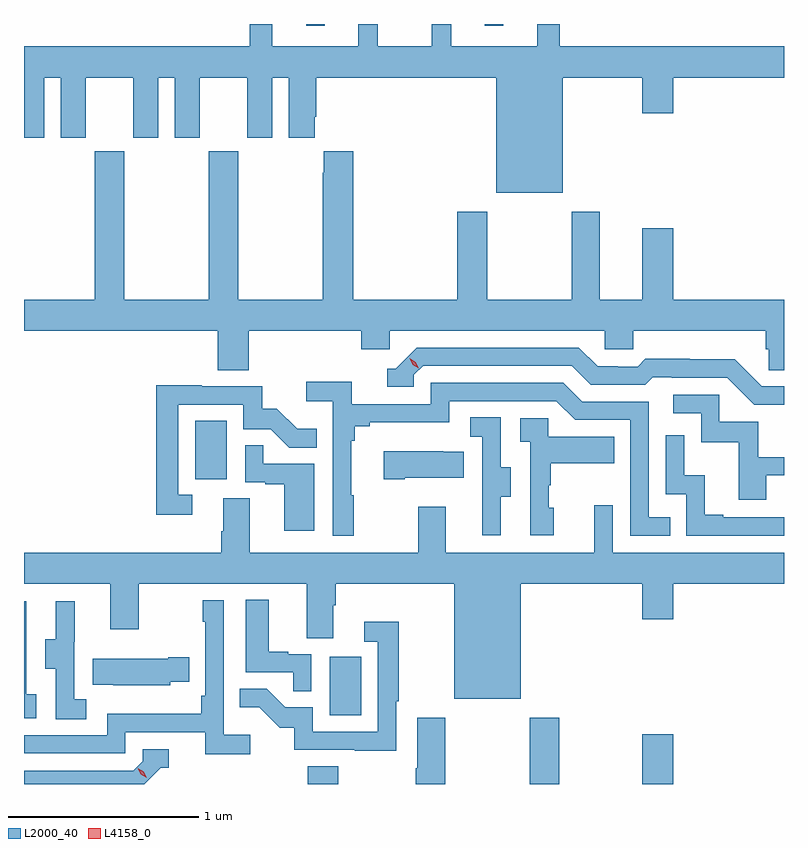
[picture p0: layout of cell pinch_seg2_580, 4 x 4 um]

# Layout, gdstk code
import gdstk
lib = gdstk.Library(unit=1e-6, precision=1e-09)
def R(c, l, rs):  # rectangles x0, y0, x1, y1
    for r in rs: c.add(gdstk.rectangle(r[:2], r[2:], *l))
def P(c, l, *ps):  # polygons
    for p in ps: c.add(gdstk.Polygon(p, *l))
L2000_40 = (2000, 40)
L4158_0 = (4158, 0)

pinch_seg2_580 = lib.new_cell('pinch_seg2_580')
R(pinch_seg2_580, L2000_40, [(1074.335,615.946,1074.495,616.04), (1075.504,615.946,1075.659,616.294), (1076.096,615.946,1076.26,616.207), (1074.452,616.308,1074.616,616.615), (1073.744,617.55,1073.908,617.857), (1074.327,619.938,1074.424,619.946), (1075.268,619.938,1075.365,619.946)])
P(pinch_seg2_580, L2000_40, [(1075.678,619.664),(1076.096,619.664),(1076.096,619.476),(1076.26,619.476),(1076.26,619.664),(1076.842,619.664),(1076.842,619.828),(1075.661,619.828),(1075.661,619.946),(1075.544,619.946),(1075.544,619.828),(1075.091,619.828),(1075.091,619.946),(1074.988,619.946),(1074.988,619.828),(1074.704,619.828),(1074.704,619.946),(1074.602,619.946),(1074.602,619.828),(1074.149,619.828),(1074.149,619.946),(1074.031,619.946),(1074.031,619.828),(1072.842,619.828),(1072.842,619.347),(1072.948,619.347),(1072.948,619.664),(1073.036,619.664),(1073.036,619.347),(1073.167,619.347),(1073.167,619.664),(1073.417,619.664),(1073.417,619.347),(1073.548,619.347),(1073.548,619.664),(1073.636,619.664),(1073.636,619.347),(1073.767,619.347),(1073.767,619.664),(1074.017,619.664),(1074.017,619.347),(1074.148,619.347),(1074.148,619.664),(1074.236,619.664),(1074.236,619.347),(1074.373,619.347),(1074.373,619.459),(1074.38,619.459),(1074.38,619.664),(1075.328,619.664),(1075.328,619.058),(1075.678,619.058)],
  [(1074.026,618.332),(1074.617,618.332),(1074.617,618.234),(1074.768,618.234),(1074.768,618.332),(1075.899,618.332),(1075.899,618.234),(1076.049,618.234),(1076.049,618.332),(1076.747,618.332),(1076.747,618.234),(1076.761,618.234),(1076.761,618.124),(1076.842,618.124),(1076.842,618.496),(1076.26,618.496),(1076.26,618.871),(1076.096,618.871),(1076.096,618.496),(1075.873,618.496),(1075.873,618.958),(1075.726,618.958),(1075.726,618.496),(1075.281,618.496),(1075.281,618.958),(1075.121,618.958),(1075.121,618.496),(1074.575,618.496),(1074.575,619.276),(1074.419,619.276),(1074.419,619.163),(1074.415,619.163),(1074.415,618.496),(1073.97,618.496),(1073.97,619.276),(1073.815,619.276),(1073.815,618.496),(1073.37,618.496),(1073.37,619.276),(1073.215,619.276),(1073.215,618.496),(1072.842,618.496),(1072.842,618.332),(1073.861,618.332),(1073.861,618.124),(1074.026,618.124)],
  [(1076.842,618.039),(1076.724,618.039),(1076.582,618.181),(1076.346,618.181),(1076.346,618.184),(1076.113,618.184),(1076.071,618.141),(1075.968,618.141),(1075.968,618.144),(1075.861,618.144),(1075.762,618.243),(1074.909,618.243),(1074.798,618.132),(1074.755,618.132),(1074.755,618.036),(1074.894,618.036),(1074.894,618.099),(1074.942,618.147),(1075.725,618.147),(1075.824,618.048),(1076.113,618.048),(1076.152,618.087),(1076.251,618.087),(1076.251,618.084),(1076.544,618.084),(1076.685,617.943),(1076.842,617.943)],
  [(1074.577,617.465),(1074.565,617.465),(1074.565,617.753),(1074.584,617.753),(1074.584,617.83),(1074.661,617.83),(1074.661,617.849),(1075.08,617.849),(1075.08,617.961),(1075.644,617.961),(1075.743,617.862),(1076.034,617.862),(1076.034,617.253),(1076.243,617.253),(1076.243,617.349),(1076.13,617.349),(1076.13,617.958),(1075.78,617.958),(1075.681,618.057),(1074.984,618.057),(1074.984,617.946),(1074.566,617.946),(1074.566,618.062),(1074.327,618.062),(1074.327,617.96),(1074.468,617.96),(1074.468,617.253),(1074.577,617.253)],
  [(1073.728,617.469),(1073.655,617.469),(1073.655,617.943),(1073.997,617.943),(1073.997,617.814),(1074.141,617.814),(1074.239,617.716),(1074.383,617.716),(1074.383,617.815),(1074.279,617.815),(1074.172,617.922),(1074.096,617.922),(1074.096,618.039),(1073.777,618.039),(1073.777,618.044),(1073.539,618.044),(1073.539,617.364),(1073.728,617.364)],
  [(1076.749,617.571),(1076.842,617.571),(1076.842,617.667),(1076.707,617.667),(1076.707,617.853),(1076.502,617.853),(1076.502,617.994),(1076.259,617.994),(1076.259,617.898),(1076.406,617.898),(1076.406,617.745),(1076.605,617.745),(1076.605,617.442),(1076.749,617.442)],
  [(1075.351,617.458),(1075.405,617.458),(1075.405,617.613),(1075.35,617.613),(1075.35,617.876),(1075.191,617.876),(1075.191,617.773),(1075.254,617.773),(1075.254,617.469),(1075.253,617.469),(1075.253,617.256),(1075.351,617.256)],
  [(1075.63,617.4),(1075.605,617.4),(1075.605,617.519),(1075.615,617.519),(1075.615,617.633),(1075.949,617.633),(1075.949,617.773),(1075.602,617.773),(1075.602,617.871),(1075.455,617.871),(1075.455,617.747),(1075.506,617.747),(1075.506,617.256),(1075.63,617.256)],
  [(1076.842,617.349),(1076.521,617.349),(1076.521,617.362),(1076.426,617.362),(1076.426,617.57),(1076.316,617.57),(1076.316,617.782),(1076.22,617.782),(1076.22,617.472),(1076.328,617.472),(1076.328,617.253),(1076.842,617.253)],
  [(1074.37,617.631),(1074.101,617.631),(1074.101,617.729),(1074.006,617.729),(1074.006,617.535),(1074.113,617.535),(1074.113,617.523),(1074.212,617.523),(1074.212,617.28),(1074.37,617.28)],
  [(1074.847,617.558),(1075.157,617.558),(1075.157,617.695),(1075.049,617.695),(1075.049,617.698),(1074.735,617.698),(1074.735,617.551),(1074.847,617.551)],
  [(1073.891,617.45),(1073.891,617.276),(1073.879,617.276),(1073.879,617.164),(1072.842,617.164),(1072.842,617),(1073.297,617),(1073.297,616.761),(1073.445,616.761),(1073.445,617),(1074.329,617),(1074.329,616.714),(1074.469,616.714),(1074.469,616.888),(1074.482,616.888),(1074.482,617),(1075.106,617),(1075.106,616.394),(1075.456,616.394),(1075.456,617),(1076.096,617),(1076.096,616.812),(1076.26,616.812),(1076.26,617),(1076.842,617),(1076.842,617.164),(1075.941,617.164),(1075.941,617.413),(1075.844,617.413),(1075.844,617.164),(1075.063,617.164),(1075.063,617.404),(1074.916,617.404),(1074.916,617.164),(1074.031,617.164),(1074.031,617.45)],
  [(1074.354,616.629),(1074.233,616.629),(1074.233,616.642),(1074.13,616.642),(1074.13,616.915),(1074.008,616.915),(1074.008,616.533),(1074.259,616.533),(1074.259,616.435),(1074.354,616.435)],
  [(1074.034,616.204),(1073.892,616.204),(1073.892,616.912),(1073.784,616.912),(1073.784,616.799),(1073.796,616.799),(1073.796,616.411),(1073.776,616.411),(1073.776,616.315),(1073.28,616.315),(1073.28,616.203),(1072.842,616.203),(1072.842,616.107),(1073.376,616.107),(1073.376,616.218),(1073.795,616.218),(1073.795,616.102),(1074.034,616.102)],
  [(1073.17,616.391),(1073.106,616.391),(1073.106,616.695),(1073.108,616.695),(1073.108,616.909),(1073.009,616.909),(1073.009,616.707),(1072.955,616.707),(1072.955,616.552),(1073.01,616.552),(1073.01,616.288),(1073.17,616.288)],
  [(1072.906,616.418),(1072.854,616.418),(1072.854,616.909),(1072.842,616.909),(1072.842,616.293),(1072.906,616.293)],
  [(1074.801,616.381),(1074.814,616.381),(1074.814,616.801),(1074.633,616.801),(1074.633,616.695),(1074.705,616.695),(1074.705,616.221),(1074.363,616.221),(1074.363,616.35),(1074.218,616.35),(1074.12,616.448),(1073.977,616.448),(1073.977,616.349),(1074.081,616.349),(1074.188,616.242),(1074.265,616.242),(1074.265,616.125),(1074.583,616.125),(1074.583,616.12),(1074.801,616.12)],
  [(1073.613,616.484),(1073.711,616.484),(1073.711,616.614),(1073.6,616.614),(1073.6,616.606),(1073.203,616.606),(1073.203,616.469),(1073.311,616.469),(1073.311,616.466),(1073.613,616.466)],
  [(1075.059,616.294),(1074.911,616.294),(1074.911,616.028),(1074.904,616.028),(1074.904,615.946),(1075.059,615.946)],
  [(1073.562,616.032),(1073.605,616.032),(1073.605,616.128),(1073.466,616.128),(1073.466,616.065),(1073.418,616.017),(1072.842,616.017),(1072.842,615.946),(1073.476,615.946)])
P(pinch_seg2_580, L4158_0, [(1074.92,618.134),(1074.888,618.153),(1074.871,618.186),(1074.871,618.186),(1074.872,618.186),(1074.903,618.167),(1074.92,618.134),(1074.92,618.134)],
  [(1073.488,615.978),(1073.457,615.997),(1073.441,616.03),(1073.441,616.03),(1073.441,616.03),(1073.472,616.011),(1073.488,615.978),(1073.488,615.978)])

lib.write_gds('pinch_seg2_580.gds')
